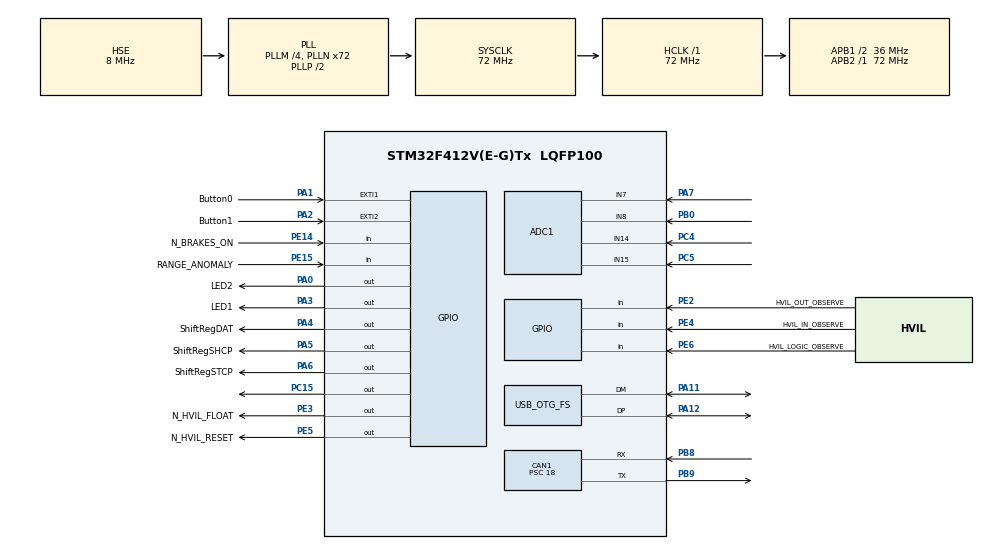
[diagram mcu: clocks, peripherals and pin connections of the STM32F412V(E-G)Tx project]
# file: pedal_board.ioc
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ADC1.Channel-0\#ChannelRegularConversion=ADC_CHANNEL_7
ADC1.ContinuousConvMode=ENABLE
ADC1.DiscontinuousConvMode=DISABLE
ADC1.NbrOfConversion=1
ADC1.NbrOfConversionFlag=1
ADC1.Rank-0\#ChannelRegularConversion=1
ADC1.SamplingTime-0\#ChannelRegularConversion=ADC_SAMPLETIME_3CYCLES
ADC1.ScanConvMode=ENABLE
ADC1.master=1
CAN1.BS1=CAN_BS1_2TQ
CAN1.BS2=CAN_BS2_1TQ
CAN1.CalculateBaudRate=500000
CAN1.CalculateTimeBit=2000
CAN1.CalculateTimeQuantum=500.0
CAN1.Mode=CAN_MODE_NORMAL
CAN1.Prescaler=18
Mcu.Family=STM32F4
Mcu.Name=STM32F412V(E-G)Tx
Mcu.Package=LQFP100
NVIC.CAN1_RX0_IRQn=true\:0\:0\:false\:false\:true\:true\:true\:true
NVIC.CAN1_RX1_IRQn=true\:0\:0\:false\:false\:true\:true\:true\:true
NVIC.EXTI1_IRQn=true\:0\:0\:false\:false\:true\:true\:true\:true
NVIC.EXTI2_IRQn=true\:0\:0\:false\:false\:true\:true\:true\:true
NVIC.OTG_FS_IRQn=true\:0\:0\:false\:false\:true\:false\:true\:true
NVIC.PriorityGroup=NVIC_PRIORITYGROUP_4
PA0.GPIO_Label=LED2
PA0.GPIO_PuPd=GPIO_PULLDOWN
PA0.Signal=GPIO_Output
PA1.GPIO_Label=Button0
PA1.Signal=GPXTI1
PA11.Mode=Device_Only
PA11.Signal=USB_OTG_FS_DM
PA12.Mode=Device_Only
PA12.Signal=USB_OTG_FS_DP
PA13.Mode=Serial_Wire
PA13.Signal=SYS_JTMS-SWDIO
PA14.Mode=Serial_Wire
PA14.Signal=SYS_JTCK-SWCLK
PA2.GPIO_Label=Button1
PA2.Signal=GPXTI2
PA3.GPIO_Label=LED1
PA3.GPIO_PuPd=GPIO_PULLDOWN
PA3.Signal=GPIO_Output
PA4.GPIO_Label=ShiftRegDAT
PA4.Signal=GPIO_Output
PA5.GPIO_Label=ShiftRegSHCP
PA5.Signal=GPIO_Output
PA6.GPIO_Label=ShiftRegSTCP
PA6.Signal=GPIO_Output
PA7.Signal=ADCx_IN7
PB0.Signal=ADCx_IN8
PB8.Mode=CAN_Activate
PB8.Signal=CAN1_RX
PB9.Mode=CAN_Activate
PB9.Signal=CAN1_TX
PC15-OSC32_OUT.Signal=GPIO_Output
PC4.Signal=ADCx_IN14
PC5.Signal=ADCx_IN15
PE14.GPIO_Label=N_BRAKES_ON
PE14.GPIO_PuPd=GPIO_PULLUP
PE14.Signal=GPIO_Input
PE15.GPIO_Label=RANGE_ANOMALY
PE15.GPIO_PuPd=GPIO_NOPULL
PE15.Signal=GPIO_Input
PE2.GPIO_Label=HVIL_OUT_OBSERVE
PE2.Signal=GPIO_Input
PE3.GPIO_Label=N_HVIL_FLOAT
PE3.GPIO_PuPd=GPIO_PULLUP
PE3.PinState=GPIO_PIN_SET
PE3.Signal=GPIO_Output
PE4.GPIO_Label=HVIL_IN_OBSERVE
PE4.Signal=GPIO_Input
PE5.GPIO_Label=N_HVIL_RESET
PE5.GPIO_PuPd=GPIO_PULLUP
PE5.PinState=GPIO_PIN_SET
PE5.Signal=GPIO_Output
PE6.GPIO_Label=HVIL_LOGIC_OBSERVE
PE6.Signal=GPIO_Input
PH0\ -\ OSC_IN.Mode=HSE-External-Oscillator
PH0\ -\ OSC_IN.Signal=RCC_OSC_IN
PH1\ -\ OSC_OUT.Mode=HSE-External-Oscillator
PH1\ -\ OSC_OUT.Signal=RCC_OSC_OUT
ProjectManager.HeapSize=0x200
ProjectManager.StackSize=0x400
ProjectManager.TargetToolchain=STM32CubeIDE
RCC.AHBFreq_Value=72000000
RCC.APB1CLKDivider=RCC_HCLK_DIV2
RCC.APB1Freq_Value=36000000
RCC.APB1TimFreq_Value=72000000
RCC.APB2Freq_Value=72000000
RCC.APB2TimFreq_Value=72000000
RCC.CortexFreq_Value=72000000
RCC.EnbaleCSS=true
RCC.HCLKFreq_Value=72000000
RCC.HSE_VALUE=8000000
RCC.PLLM=4
RCC.PLLN=72
RCC.PLLQ=3
RCC.SYSCLKFreq_VALUE=72000000
RCC.SYSCLKSource=RCC_SYSCLKSOURCE_PLLCLK
RCC.USBFreq_Value=48000000
RCC.VCOOutputFreq_Value=144000000
SH.ADCx_IN14.0=ADC1_IN14,IN14
SH.ADCx_IN15.0=ADC1_IN15,IN15
SH.ADCx_IN7.0=ADC1_IN7,IN7
SH.ADCx_IN8.0=ADC1_IN8,IN8
USB_DEVICE.CLASS_NAME_FS=CDC
USB_DEVICE.VirtualMode=Cdc
USB_DEVICE.VirtualModeFS=Cdc_FS
USB_OTG_FS.VirtualMode=Device_Only
VP_USB_DEVICE_VS_USB_DEVICE_CDC_FS.Mode=CDC_FS
board=custom

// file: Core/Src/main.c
/* USER CODE BEGIN Header */
/**
  ******************************************************************************
  * @file           : main.c
  * @brief          : Main program body
  ******************************************************************************
  * @attention
  *
  * Copyright (c) 2023 STMicroelectronics.
  * All rights reserved.
  *
  * This software is licensed under terms that can be found in the LICENSE file
  * in the root directory of this software component.
  * If no LICENSE file comes with this software, it is provided AS-IS.
  *
  ******************************************************************************
  */
/* USER CODE END Header */
#include "main.h"
#include "usb_device.h"

/* USER CODE BEGIN Includes */
#include "74hc595.h"
/* USER CODE END Includes */

/* USER CODE BEGIN PD */
#define ADC_TIMEOUT_MS 100
#define DEVICE_ID 0x001
/* USER CODE END PD */

ADC_HandleTypeDef hadc1;

CAN_HandleTypeDef hcan1;

/* USER CODE BEGIN PV */
enum {
	APPS1_CHANNEL=ADC_CHANNEL_7,
	APPS2_CHANNEL=ADC_CHANNEL_15,
	BSE1_CHANNEL=ADC_CHANNEL_14,
	BSE2_CHANNEL=ADC_CHANNEL_7,
};
const int sensor_channels[] = {APPS1_CHANNEL, APPS2_CHANNEL, BSE1_CHANNEL, BSE2_CHANNEL};

uint8_t 				hvil_out, hvil_logic, hvil_in, btn1_pressed, btn2_pressed, brakes_on, bad_range;
uint8_t					TxData[5];
uint8_t					RxData[5];
uint8_t 				pedal_vals[5];
CAN_TxHeaderTypeDef   	TxHeader;
CAN_RxHeaderTypeDef   	RxHeader;
uint32_t              	TxMailbox = 0;
/* USER CODE END PV */

void SystemClock_Config(void);
static void MX_GPIO_Init(void);
static void MX_ADC1_Init(void);
static void MX_CAN1_Init(void);
/* USER CODE BEGIN PFP */
void ADC_channel_select(int channel);
/* USER CODE END PFP */

/* USER CODE BEGIN 0 */
void ADC_channel_select(int channel)
{
  ADC_ChannelConfTypeDef sConfig = {0};
  sConfig.Channel = channel;
  sConfig.Rank = 1;
  sConfig.SamplingTime = ADC_SAMPLETIME_3CYCLES;
  if (HAL_ADC_ConfigChannel(&hadc1, &sConfig) != HAL_OK)
  {
    // Error_Handler();
  }
}

void HAL_GPIO_EXTI_Callback(uint16_t GPIO_Pin)
{
	HAL_GPIO_TogglePin(LED1_GPIO_Port, LED1_Pin);
    if (HAL_CAN_AddTxMessage(&hcan1, &TxHeader, TxData, &TxMailbox) != HAL_OK) {
        HAL_GPIO_WritePin(LED1_GPIO_Port, LED1_Pin, GPIO_PIN_SET);
    } else {
        HAL_GPIO_WritePin(LED2_GPIO_Port, LED2_Pin, GPIO_PIN_RESET);
    }
}

void HAL_CAN_RxFifo0MsgPendingCallback(CAN_HandleTypeDef *hcan)
{
	int retval = HAL_CAN_GetRxMessage(hcan, CAN_RX_FIFO0, &RxHeader, RxData);	// don't delay after this!
    shift_reg_display(RxData[4], DP_OFF, DP_OFF);
}
/* USER CODE END 0 */

int main(void)
{

  /* MCU Configuration--------------------------------------------------------*/

  /* Reset of all peripherals, Initializes the Flash interface and the Systick. */
  HAL_Init();

  /* USER CODE BEGIN Init */
  TxHeader.IDE = CAN_ID_STD;
  TxHeader.StdId = 0x466;
  TxHeader.RTR = CAN_RTR_DATA;
  TxHeader.DLC = 5;
  TxHeader.TransmitGlobalTime = DISABLE;
  /* USER CODE END Init */

  /* Configure the system clock */
  SystemClock_Config();

  /* Initialize all configured peripherals */
  MX_GPIO_Init();
  MX_ADC1_Init();
  MX_CAN1_Init();
  MX_USB_DEVICE_Init();
  /* USER CODE BEGIN 2 */
    HAL_CAN_Start(&hcan1);
    HAL_CAN_ActivateNotification(&hcan1, CAN_IT_RX_FIFO0_MSG_PENDING);
    HAL_CAN_ActivateNotification(&hcan1, CAN_IT_RX_FIFO1_MSG_PENDING);

  shift_reg_init(ShiftRegSHCP_GPIO_Port, ShiftRegSTCP_GPIO_Port, ShiftRegDAT_GPIO_Port,
                 ShiftRegSHCP_Pin, ShiftRegSTCP_Pin, ShiftRegDAT_Pin);
  /* USER CODE END 2 */

  /* Infinite loop */
  /* USER CODE BEGIN WHILE */
  while (1)
  {
	  hvil_out = HAL_GPIO_ReadPin(GPIOE, HVIL_OUT_OBSERVE_Pin);
	  hvil_logic = HAL_GPIO_ReadPin(GPIOE, HVIL_LOGIC_OBSERVE_Pin);
	  hvil_in = HAL_GPIO_ReadPin(GPIOE, HVIL_IN_OBSERVE_Pin);
	  brakes_on = !HAL_GPIO_ReadPin(GPIOE, N_BRAKES_ON_Pin);

	  if (HAL_GPIO_ReadPin(GPIOE, RANGE_ANOMALY_Pin)) {
//		  Error_Handler();
	  }

	  /* Read petal sensor values from ADC */
	  for (int i = 0; i < 4; i++) {
		  HAL_ADC_Start(&hadc1);
		  ADC_channel_select(sensor_channels[i]);
		  HAL_ADC_PollForConversion(&hadc1, ADC_TIMEOUT_MS);
		  pedal_vals[i] = HAL_ADC_GetValue(&hadc1);
		  HAL_ADC_Stop(&hadc1);
	  }
	  pedal_vals[4] = brakes_on;

	  for (int i = 0; i < 5; i++) {
		  TxData[i] = pedal_vals[i];
	  }

	  HAL_Delay(1);	// so that the CAN transmissions don't pile up
	  HAL_Delay(1000);
    /* USER CODE END WHILE */

  }
}

void SystemClock_Config(void)
{
  RCC_OscInitTypeDef RCC_OscInitStruct = {0};
  RCC_ClkInitTypeDef RCC_ClkInitStruct = {0};

  /** Configure the main internal regulator output voltage
  */
  __HAL_RCC_PWR_CLK_ENABLE();
  __HAL_PWR_VOLTAGESCALING_CONFIG(PWR_REGULATOR_VOLTAGE_SCALE1);

  /** Initializes the RCC Oscillators according to the specified parameters
  * in the RCC_OscInitTypeDef structure.
  */
  RCC_OscInitStruct.OscillatorType = RCC_OSCILLATORTYPE_HSE;
  RCC_OscInitStruct.HSEState = RCC_HSE_ON;
  RCC_OscInitStruct.PLL.PLLState = RCC_PLL_ON;
  RCC_OscInitStruct.PLL.PLLSource = RCC_PLLSOURCE_HSE;
  RCC_OscInitStruct.PLL.PLLM = 4;
  RCC_OscInitStruct.PLL.PLLN = 72;
  RCC_OscInitStruct.PLL.PLLP = RCC_PLLP_DIV2;
  RCC_OscInitStruct.PLL.PLLQ = 3;
  RCC_OscInitStruct.PLL.PLLR = 2;
  if (HAL_RCC_OscConfig(&RCC_OscInitStruct) != HAL_OK)
  {
    Error_Handler();
  }

  /** Initializes the CPU, AHB and APB buses clocks
  */
  RCC_ClkInitStruct.ClockType = RCC_CLOCKTYPE_HCLK|RCC_CLOCKTYPE_SYSCLK
                              |RCC_CLOCKTYPE_PCLK1|RCC_CLOCKTYPE_PCLK2;
  RCC_ClkInitStruct.SYSCLKSource = RCC_SYSCLKSOURCE_PLLCLK;
  RCC_ClkInitStruct.AHBCLKDivider = RCC_SYSCLK_DIV1;
  RCC_ClkInitStruct.APB1CLKDivider = RCC_HCLK_DIV2;
  RCC_ClkInitStruct.APB2CLKDivider = RCC_HCLK_DIV1;

  if (HAL_RCC_ClockConfig(&RCC_ClkInitStruct, FLASH_LATENCY_2) != HAL_OK)
  {
    Error_Handler();
  }

  /** Enables the Clock Security System
  */
  HAL_RCC_EnableCSS();
}

static void MX_ADC1_Init(void)
{

  ADC_ChannelConfTypeDef sConfig = {0};

  /** Configure the global features of the ADC (Clock, Resolution, Data Alignment and number of conversion)
  */
  hadc1.Instance = ADC1;
  hadc1.Init.ClockPrescaler = ADC_CLOCK_SYNC_PCLK_DIV2;
  hadc1.Init.Resolution = ADC_RESOLUTION_12B;
  hadc1.Init.ScanConvMode = ENABLE;
  hadc1.Init.ContinuousConvMode = ENABLE;
  hadc1.Init.DiscontinuousConvMode = DISABLE;
  hadc1.Init.ExternalTrigConvEdge = ADC_EXTERNALTRIGCONVEDGE_NONE;
  hadc1.Init.ExternalTrigConv = ADC_SOFTWARE_START;
  hadc1.Init.DataAlign = ADC_DATAALIGN_RIGHT;
  hadc1.Init.NbrOfConversion = 1;
  hadc1.Init.DMAContinuousRequests = DISABLE;
  hadc1.Init.EOCSelection = ADC_EOC_SINGLE_CONV;
  if (HAL_ADC_Init(&hadc1) != HAL_OK)
  {
    Error_Handler();
  }

  /** Configure for the selected ADC regular channel its corresponding rank in the sequencer and its sample time.
  */
  sConfig.Channel = ADC_CHANNEL_7;
  sConfig.Rank = 1;
  sConfig.SamplingTime = ADC_SAMPLETIME_3CYCLES;
  if (HAL_ADC_ConfigChannel(&hadc1, &sConfig) != HAL_OK)
  {
    Error_Handler();
  }

}

static void MX_CAN1_Init(void)
{

  hcan1.Instance = CAN1;
  hcan1.Init.Prescaler = 18;
  hcan1.Init.Mode = CAN_MODE_NORMAL;
  hcan1.Init.SyncJumpWidth = CAN_SJW_1TQ;
  hcan1.Init.TimeSeg1 = CAN_BS1_2TQ;
  hcan1.Init.TimeSeg2 = CAN_BS2_1TQ;
  hcan1.Init.TimeTriggeredMode = DISABLE;
  hcan1.Init.AutoBusOff = DISABLE;
  hcan1.Init.AutoWakeUp = DISABLE;
  hcan1.Init.AutoRetransmission = DISABLE;
  hcan1.Init.ReceiveFifoLocked = DISABLE;
  hcan1.Init.TransmitFifoPriority = DISABLE;
  if (HAL_CAN_Init(&hcan1) != HAL_OK)
  {
    Error_Handler();
  }
  /* USER CODE BEGIN CAN1_Init 2 */
  CAN_FilterTypeDef canfilterconfig;
  canfilterconfig.FilterActivation = CAN_FILTER_ENABLE;
  canfilterconfig.FilterBank = 10;
  canfilterconfig.FilterFIFOAssignment = CAN_RX_FIFO0;
  canfilterconfig.FilterIdHigh = 0;
  canfilterconfig.FilterIdLow = 0x000;
  canfilterconfig.FilterMaskIdHigh = 0;
  canfilterconfig.FilterMaskIdLow = 0x000;
  canfilterconfig.FilterMode = CAN_FILTERMODE_IDMASK;
  canfilterconfig.FilterScale = CAN_FILTERSCALE_32BIT;
  canfilterconfig.SlaveStartFilterBank = 0;

  HAL_CAN_ConfigFilter(&hcan1, &canfilterconfig);
  /* USER CODE END CAN1_Init 2 */

}

static void MX_GPIO_Init(void)
{
  GPIO_InitTypeDef GPIO_InitStruct = {0};

  /* GPIO Ports Clock Enable */
  __HAL_RCC_GPIOE_CLK_ENABLE();
  __HAL_RCC_GPIOC_CLK_ENABLE();
  __HAL_RCC_GPIOH_CLK_ENABLE();
  __HAL_RCC_GPIOA_CLK_ENABLE();
  __HAL_RCC_GPIOB_CLK_ENABLE();

  /*Configure GPIO pin Output Level */
  HAL_GPIO_WritePin(GPIOE, N_HVIL_FLOAT_Pin|N_HVIL_RESET_Pin, GPIO_PIN_SET);

  /*Configure GPIO pin Output Level */
  HAL_GPIO_WritePin(GPIOC, GPIO_PIN_15, GPIO_PIN_RESET);

  /*Configure GPIO pin Output Level */
  HAL_GPIO_WritePin(GPIOA, LED2_Pin|LED1_Pin|ShiftRegDAT_Pin|ShiftRegSHCP_Pin
                          |ShiftRegSTCP_Pin, GPIO_PIN_RESET);

  /*Configure GPIO pins : HVIL_OUT_OBSERVE_Pin HVIL_IN_OBSERVE_Pin HVIL_LOGIC_OBSERVE_Pin RANGE_ANOMALY_Pin */
  GPIO_InitStruct.Pin = HVIL_OUT_OBSERVE_Pin|HVIL_IN_OBSERVE_Pin|HVIL_LOGIC_OBSERVE_Pin|RANGE_ANOMALY_Pin;
  GPIO_InitStruct.Mode = GPIO_MODE_INPUT;
  GPIO_InitStruct.Pull = GPIO_NOPULL;
  HAL_GPIO_Init(GPIOE, &GPIO_InitStruct);

  /*Configure GPIO pins : N_HVIL_FLOAT_Pin N_HVIL_RESET_Pin */
  GPIO_InitStruct.Pin = N_HVIL_FLOAT_Pin|N_HVIL_RESET_Pin;
  GPIO_InitStruct.Mode = GPIO_MODE_OUTPUT_PP;
  GPIO_InitStruct.Pull = GPIO_PULLUP;
  GPIO_InitStruct.Speed = GPIO_SPEED_FREQ_LOW;
  HAL_GPIO_Init(GPIOE, &GPIO_InitStruct);

  /*Configure GPIO pin : PC15 */
  GPIO_InitStruct.Pin = GPIO_PIN_15;
  GPIO_InitStruct.Mode = GPIO_MODE_OUTPUT_PP;
  GPIO_InitStruct.Pull = GPIO_NOPULL;
  GPIO_InitStruct.Speed = GPIO_SPEED_FREQ_LOW;
  HAL_GPIO_Init(GPIOC, &GPIO_InitStruct);

  /*Configure GPIO pins : LED2_Pin LED1_Pin */
  GPIO_InitStruct.Pin = LED2_Pin|LED1_Pin;
  GPIO_InitStruct.Mode = GPIO_MODE_OUTPUT_PP;
  GPIO_InitStruct.Pull = GPIO_PULLDOWN;
  GPIO_InitStruct.Speed = GPIO_SPEED_FREQ_LOW;
  HAL_GPIO_Init(GPIOA, &GPIO_InitStruct);

  /*Configure GPIO pins : Button0_Pin Button1_Pin */
  GPIO_InitStruct.Pin = Button0_Pin|Button1_Pin;
  GPIO_InitStruct.Mode = GPIO_MODE_IT_RISING;
  GPIO_InitStruct.Pull = GPIO_NOPULL;
  HAL_GPIO_Init(GPIOA, &GPIO_InitStruct);

  /*Configure GPIO pins : ShiftRegDAT_Pin ShiftRegSHCP_Pin ShiftRegSTCP_Pin */
  GPIO_InitStruct.Pin = ShiftRegDAT_Pin|ShiftRegSHCP_Pin|ShiftRegSTCP_Pin;
  GPIO_InitStruct.Mode = GPIO_MODE_OUTPUT_PP;
  GPIO_InitStruct.Pull = GPIO_NOPULL;
  GPIO_InitStruct.Speed = GPIO_SPEED_FREQ_LOW;
  HAL_GPIO_Init(GPIOA, &GPIO_InitStruct);

  /*Configure GPIO pin : N_BRAKES_ON_Pin */
  GPIO_InitStruct.Pin = N_BRAKES_ON_Pin;
  GPIO_InitStruct.Mode = GPIO_MODE_INPUT;
  GPIO_InitStruct.Pull = GPIO_PULLUP;
  HAL_GPIO_Init(N_BRAKES_ON_GPIO_Port, &GPIO_InitStruct);

  /* EXTI interrupt init*/
  HAL_NVIC_SetPriority(EXTI1_IRQn, 0, 0);
  HAL_NVIC_EnableIRQ(EXTI1_IRQn);

  HAL_NVIC_SetPriority(EXTI2_IRQn, 0, 0);
  HAL_NVIC_EnableIRQ(EXTI2_IRQn);

}

void Error_Handler(void)
{
  /* USER CODE BEGIN Error_Handler_Debug */
  /* User can add his own implementation to report the HAL error return state */
  __disable_irq();
  HAL_GPIO_WritePin(GPIOE, N_HVIL_FLOAT_Pin, GPIO_PIN_SET);
  while (1)
  {
  }
  /* USER CODE END Error_Handler_Debug */
}
